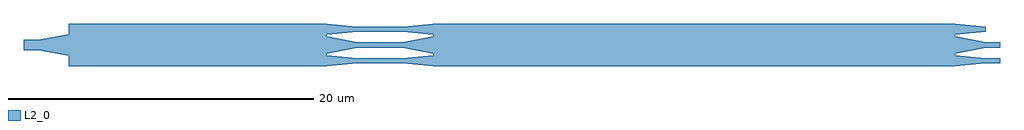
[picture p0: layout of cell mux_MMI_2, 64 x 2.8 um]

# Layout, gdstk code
import gdstk
lib = gdstk.Library(unit=1e-6, precision=1e-10)
def R(c, l, rs):  # rectangles x0, y0, x1, y1
    for r in rs: c.add(gdstk.rectangle(r[:2], r[2:], *l))
def P(c, l, *ps):  # polygons
    for p in ps: c.add(gdstk.Polygon(p, *l))
L2_0 = (2, 0)

mux_mmi_2 = lib.new_cell('mux_MMI_2')
R(mux_mmi_2, L2_0, [(-5.16,-1.4,29.08,1.4), (31.08,-1.213,32,-0.863), (-10.16,-1.2125,-7.16,-0.8625), (-32,-0.35,-31.08,0.35), (-10.16,-0.175,-7.16,0.175), (31.08,-0.175,32,0.175), (-10.16,0.8825,-7.16,1.2125)])
P(mux_mmi_2, L2_0, [(-29.08,-1.4),(-29.08,1.4),(-29.08,1.4),(-12.16,1.4),(-12.16,-1.4)],
  [(-29.08,-0.7),(-31.08,-0.35),(-31.08,0.35),(-29.08,0.7),(-29.08,0.7)],
  [(-12.16,-1.4),(-12.16,-0.675),(-10.16,-0.8625),(-10.16,-1.2125)],
  [(-5.16,-1.4),(-7.16,-1.2125),(-7.16,-0.8625),(-5.16,-0.675)],
  [(29.08,-1.4),(29.08,-0.675),(31.08,-0.8625),(31.08,-1.2125)],
  [(-12.16,-0.575),(-12.16,0.575),(-10.16,0.175),(-10.16,-0.175)],
  [(-5.16,-0.575),(-7.16,-0.175),(-7.16,0.175),(-5.16,0.575)],
  [(29.08,-0.575),(29.08,0.575),(31.08,0.175),(31.08,-0.175)],
  [(-12.16,0.675),(-12.16,1.4),(-10.16,1.2125),(-10.16,0.8825)],
  [(-5.16,0.675),(-7.16,0.8825),(-7.16,1.2125),(-5.16,1.4)],
  [(29.08,0.675),(29.08,1.4),(31.08,1.2125),(31.08,0.8625)])

lib.write_gds('mux_MMI_2.gds')
